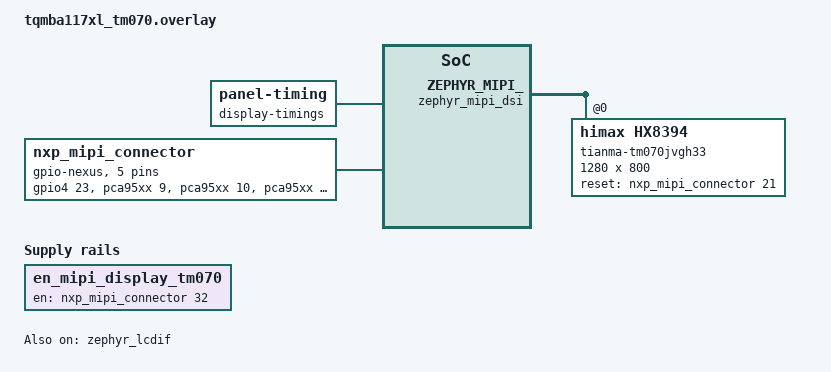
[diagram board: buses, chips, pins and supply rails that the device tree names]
/*
 * Copyright (c) 2025 TQ-Systems GmbH <license@tq-group.com>, D-82229 Seefeld, Germany.
 * Author: Isaac L. L. Yuki
 *
 * SPDX-License-Identifier: Apache-2.0
 */

#include <zephyr/dt-bindings/display/panel.h>

/{
	chosen {
		zephyr,display = &lcdif;
	};

	en_mipi_display_tm070: enable-mipi-display-tm070 {
		compatible = "regulator-fixed";
		regulator-name = "en_mipi_display";
		enable-gpios = <&nxp_mipi_connector 32 GPIO_ACTIVE_HIGH>;
		regulator-boot-on;
	};
};

&zephyr_lcdif {
	status = "okay";
	width = <1280>;
	height = <800>;
	display-timings {
		compatible = "zephyr,panel-timing";
		hsync-len = <1>;
		hfront-porch = <64>;
		hback-porch = <5>;
		vsync-len = <1>;
		vfront-porch = <40>;
		vback-porch = <2>;
		hsync-active = <0>;
		vsync-active = <0>;
		de-active = <1>;
		pixelclk-active = <0>;
		/*
		 * Pixel clock is given by the following formula:
		 * (height + vsync-len + vfront-porch + vback-porch) *
		 * (width + hsync-len + hfront-porch + hback-porch) * frame rate
		 */
		clock-frequency = <33000000>;
	};
	pixel-format = <PANEL_PIXEL_FORMAT_RGB_888>;
	data-bus-width = "24-bit";
	backlight-gpios = <&nxp_mipi_connector 20 GPIO_ACTIVE_HIGH>;
};

&zephyr_mipi_dsi {
	status = "okay";
	nxp,lcdif = <&lcdif>;
	dpi-color-coding = "24-bit";
	dpi-pixel-packet = "24-bit";
	dpi-video-mode = "burst";
	dpi-bllp-mode = "low-power";
	autoinsert-eotp;
	/*
	 * PHY clock is given by the following formula:
	 * (pixel clock * bits per pixel) / MIPI data lanes
	 */
	phy-clock = <888000000>;
	tianma-tm070jvgh33@0 {
		status = "okay";
		compatible = "himax,hx8394";
		/*
		 * This display controller works fine for the demo purpose.
		 * But clearly it is not the best solution.
		 */
		reg = <0x0>;
		data-lanes = <2>;
		width = <1280>;
		height = <800>;
		pixel-format = <MIPI_DSI_PIXFMT_RGB888>;
		reset-gpios = <&nxp_mipi_connector 21 GPIO_ACTIVE_HIGH>;
	};
};

&nxp_mipi_connector{
	compatible = "gpio-nexus";
	#gpio-cells = <2>;
	gpio-map-mask = <0xffffffff 0xffffffc0>;
	gpio-map-pass-thru = <0 0x3f>;
	/*
	 * Mapping of the port expander/gpio controller pins to the virtual controller.
	 * virtual controller -> port expander, gpio controller
	 */
	gpio-map = <29 0 &gpio4 23 0>,	/* INPUT_IRQ */
			<20 0 &pca95xx 9 0>,	/* LVDS BACKLIGHT */
			<21 0 &pca95xx 10 0>,	/* LCD RESET# */
			<32 0 &pca95xx 11 0>,	/* PWR_EN */
			<28 0 &pca95xx 12 0>;	/* CTP RESET# */
};
